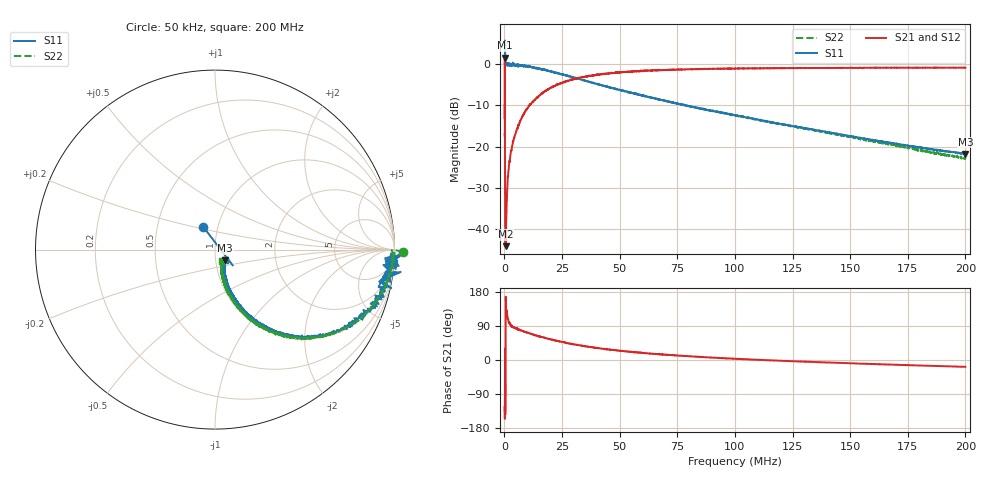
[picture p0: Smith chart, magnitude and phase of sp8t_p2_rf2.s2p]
! 26-Feb-26 11:31:26 AM
! E:\VNA_MEASUREMENTS\SP8T\SP8T_P2_RF2.S2P
! CHANNEL.1
! TR.MEASUREMENT
! CORRECTED.DATA
# GHZ S RI R 50.0
! FREQ.GHZ  S11RE  S11IM  S21RE  S21IM  S12RE  S12IM  S22RE  S22IM
!; PortSelection: Port_12
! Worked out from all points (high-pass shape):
!   2000 points, 50 kHz to 200 MHz, reference 50 ohm
!   highest |S21| = 1.58 dB at 150 kHz (marker M1); lowest = -44.0 dB at 450.1 kHz (marker M2)
!   |S21| within 3 dB of the highest: 71.31 MHz to 71.95 MHz (638.4 kHz wide, 0.891 % of centre); 72.7 MHz to end of sweep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
!   lowest |S11| = -21.8 dB at 200 MHz (marker M3), VSWR 1.18, Z = 55.5 - j6.66 ohm
!   |S11| at or under -10 dB: start of sweep to 182.7 kHz; 78.53273 MHz to 78.80365 MHz (270.9 kHz wide, 0.344 % of centre); 78.96 MHz to end of sweep
!   |S22| runs from -22.9 to 0.4 dB; largest |S21 - S12| = 1.2
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5e-05  -0.0653 0.1267  -0.1231 -0.1833  0.00386 -0.00781  1.045 -0.0112
0.000150025  0.0983 -0.0873  -1.092 -0.4983  0.0015 0.000576  1.001 -0.00214
0.0004501  0.9551 -0.08  9.91e-05 -0.00628  -0.00175 0.0106  0.9846 -0.0029
0.001150275  1.029 -0.0278  -0.0139 0.0271  -0.0036 0.0321  0.9875 -0.0352
0.0012503  0.9584 -0.0578  -0.0149 0.0283  -0.0038 0.0334  0.9886 -0.0465
0.001350325  1.015 -0.0604  -0.0153 0.0359  -0.00247 0.0394  0.9921 -0.048
0.001950475  1.029 -0.0388  -0.00878 0.0602  -0.00297 0.0577  0.9917 -0.0634
0.002350575  0.9614 -0.0995  -0.00655 0.0698  -0.00126 0.0678  0.9869 -0.0819
0.002950725  0.9381 -0.0852  -0.00024 0.0911  -0.000378 0.0876  0.9913 -0.1
0.003750925  0.9842 -0.1461  0.00587 0.1147  0.00756 0.113  0.9735 -0.1325
0.005051251  0.9755 -0.1769  0.0192 0.1522  0.018 0.1517  0.9636 -0.1641
0.008152026  0.9101 -0.2784  0.0608 0.2312  0.0615 0.233  0.9191 -0.2587
0.01195298  0.8525 -0.3353  0.1281 0.3191  0.1274 0.3191  0.8467 -0.3477
0.01745435  0.7369 -0.4305  0.2474 0.4032  0.2444 0.3985  0.7316 -0.4337
0.02475618  0.587 -0.4792  0.3932 0.4401  0.4032 0.4365  0.5744 -0.4845
0.03345835  0.4329 -0.4789  0.5514 0.4205  0.5465 0.4247  0.4231 -0.4928
0.04706176  0.284 -0.4251  0.6925 0.356  0.6943 0.3449  0.2694 -0.4411
0.06676668  0.164 -0.3431  0.8168 0.2321  0.8133 0.2289  0.1471 -0.343
0.100075  0.0833 -0.227  0.8862 0.0468  0.8825 0.0471  0.0682 -0.2332
0.1333833  0.0582 -0.1519  0.8953 -0.0789  0.8924 -0.0784  0.0419 -0.1551
0.1666917  0.0523 -0.0995  0.8832 -0.1928  0.8858 -0.1877  0.0359 -0.1048
0.2  0.056 -0.0596  0.8595 -0.2778  0.8577 -0.2815  0.0397 -0.0627
